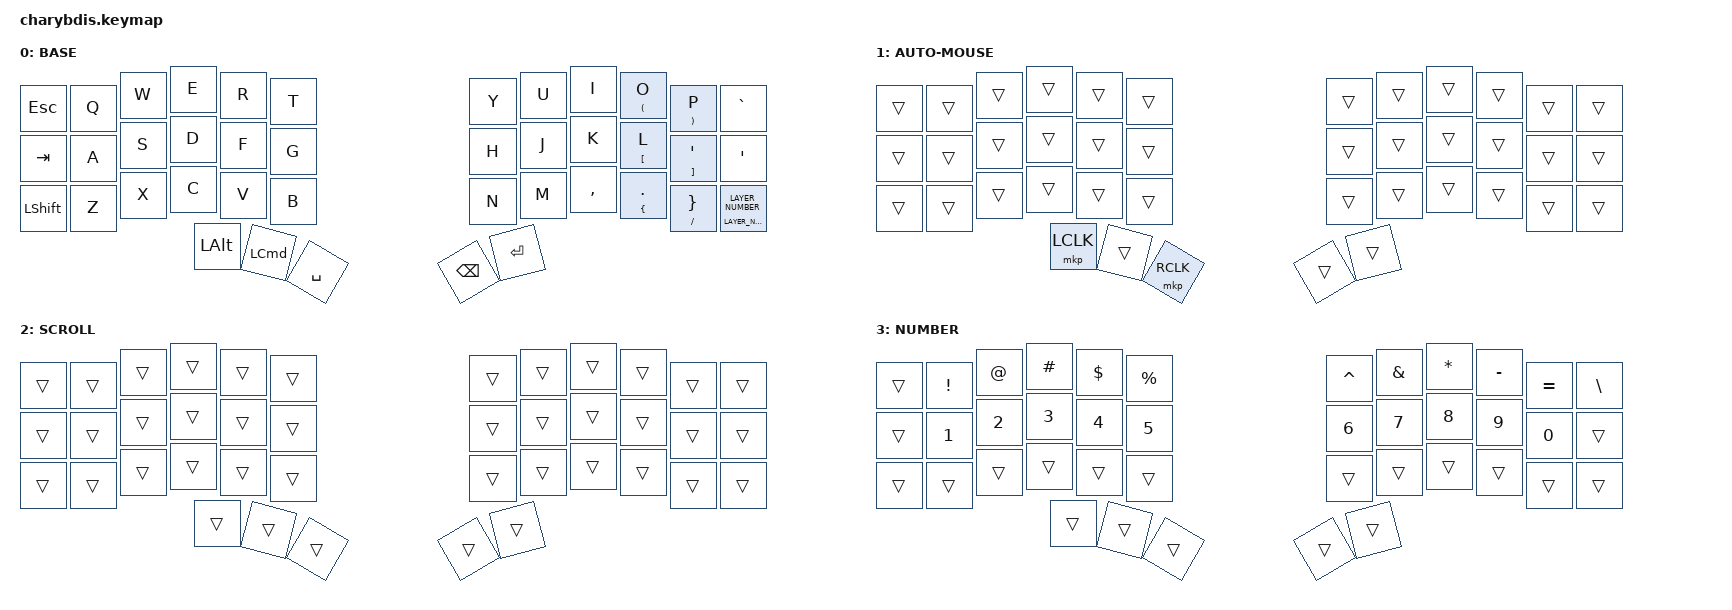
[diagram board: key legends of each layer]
#include <dt-bindings/zmk/input_transform.h>
#include <dt-bindings/zmk/mouse.h>
#include <input/processors.dtsi>
#include <behaviors.dtsi>
#include <dt-bindings/zmk/keys.h>
#include <dt-bindings/zmk/pointing.h>

#define LAYER_BASE 0
#define LAYER_AUTO_MOUSE 1
#define LAYER_SCROLL 2
#define LAYER_NUMBER 3

/ {
    trackball_listener {
        compatible = "zmk,input-listener";
        device = <&trackball>;
        input-processors =
            <&zip_xy_scaler 1 1>,
            <&zip_temp_layer LAYER_AUTO_MOUSE 400>;

        scroll {
            layers = <LAYER_SCROLL>;
            input-processors =
                <&zip_xy_scaler 1 5>,
                <&zip_xy_to_scroll_mapper>,
                <&zip_scroll_transform (INPUT_TRANSFORM_Y_INVERT)>;
        };
    };

    combos {
        compatible = "zmk,combos";

        CapsWord {
            bindings = <&caps_word>;
            key-positions = <35 24>;
        };
    };

    behaviors {
        mo_tog: mo_tog {
            compatible = "zmk,behavior-hold-tap";
            label = "MO_TOG";
            bindings = <&mo>, <&tog>;

            #binding-cells = <2>;
            tapping-term-ms = <250>;
        };

        hold_tap: hold_tap {
            compatible = "zmk,behavior-hold-tap";
            label = "HOLD_TAP";
            bindings = <&kp>, <&kp>;

            #binding-cells = <2>;
            tapping-term-ms = <200>;
        };
    };

    keymap {
        compatible = "zmk,keymap";

        BASE {
            bindings = <
&kp ESC         &kp Q  &kp W  &kp E         &kp R             &kp T        &kp Y          &kp U    &kp I      &hold_tap LPAR O    &hold_tap RPAR P     &kp GRAVE
&kp TAB         &kp A  &kp S  &kp D         &kp F             &kp G        &kp H          &kp J    &kp K      &hold_tap LBKT L    &hold_tap RBKT SQT   &kp APOS
&kp LEFT_SHIFT  &kp Z  &kp X  &kp C         &kp V             &kp B        &kp N          &kp M    &kp COMMA  &hold_tap LBRC DOT  &hold_tap FSLH RBRC  &mo_tog LAYER_NUMBER LAYER_NUMBER
                              &kp LEFT_ALT  &kp LEFT_COMMAND  &kp SPACE    &kp BACKSPACE  &kp RET
            >;
        };

        AUTO-MOUSE {
            bindings = <
&trans  &trans  &trans  &trans     &trans  &trans       &trans  &trans  &trans  &trans  &trans  &trans
&trans  &trans  &trans  &trans     &trans  &trans       &trans  &trans  &trans  &trans  &trans  &trans
&trans  &trans  &trans  &trans     &trans  &trans       &trans  &trans  &trans  &trans  &trans  &trans
                        &mkp LCLK  &trans  &mkp RCLK    &trans  &trans
            >;
        };

        SCROLL {
            bindings = <
&trans  &trans  &trans  &trans  &trans  &trans    &trans  &trans  &trans  &trans  &trans  &trans
&trans  &trans  &trans  &trans  &trans  &trans    &trans  &trans  &trans  &trans  &trans  &trans
&trans  &trans  &trans  &trans  &trans  &trans    &trans  &trans  &trans  &trans  &trans  &trans
                        &trans  &trans  &trans    &trans  &trans
            >;
        };

        NUMBER {
            bindings = <
&trans  &kp EXCL  &kp AT  &kp HASH  &kp DLLR  &kp PRCNT    &kp CARET  &kp AMPS  &kp STAR  &kp MINUS  &kp EQUAL  &kp BACKSLASH
&trans  &kp N1    &kp N2  &kp N3    &kp N4    &kp N5       &kp N6     &kp N7    &kp N8    &kp N9     &kp N0     &trans
&trans  &trans    &trans  &trans    &trans    &trans       &trans     &trans    &trans    &trans     &trans     &trans
                          &trans    &trans    &trans       &trans     &trans
            >;
        };
    };
};
